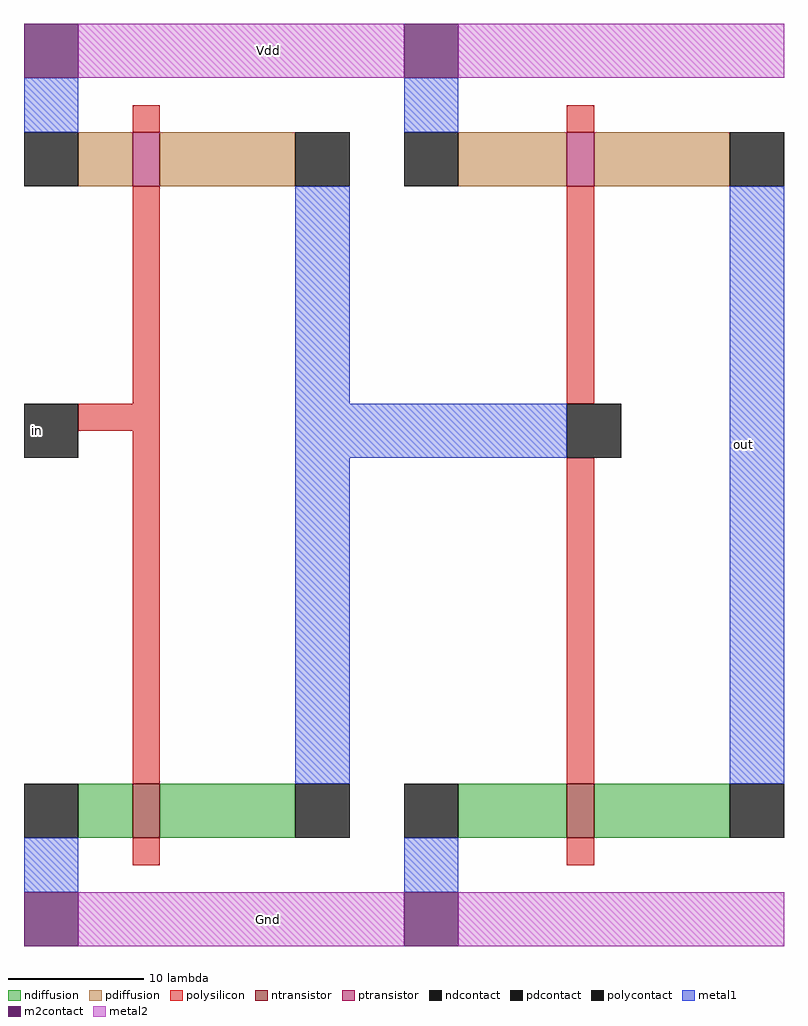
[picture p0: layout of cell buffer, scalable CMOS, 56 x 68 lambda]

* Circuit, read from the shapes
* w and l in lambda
.subckt buffer Gnd Vdd in out
M1 n1 in Gnd VSUBS nfet w=4 l=2
M2 out n1 Gnd VSUBS nfet w=4 l=2
M3 n1 in Vdd NWELL pfet w=4 l=2
M4 out n1 Vdd NWELL pfet w=4 l=2
.ends

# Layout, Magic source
magic
tech scmos
<< polysilicon >>
rect 8 60 10 62
rect 40 60 42 62
rect 8 40 10 56
rect 4 38 10 40
rect 8 12 10 38
rect 40 40 42 56
rect 40 12 42 36
rect 8 6 10 8
rect 40 6 42 8
<< ndiffusion >>
rect 4 8 8 12
rect 10 8 20 12
rect 32 8 40 12
rect 42 8 52 12
<< pdiffusion >>
rect 4 56 8 60
rect 10 56 20 60
rect 32 56 40 60
rect 42 56 52 60
<< metal1 >>
rect 0 60 4 64
rect 28 60 32 64
rect 20 40 24 56
rect 20 36 40 40
rect 20 12 24 36
rect 52 12 56 56
rect 0 4 4 8
rect 28 4 32 8
<< metal2 >>
rect 4 64 28 68
rect 32 64 56 68
rect 4 0 28 4
rect 32 0 56 4
<< ntransistor >>
rect 8 8 10 12
rect 40 8 42 12
<< ptransistor >>
rect 8 56 10 60
rect 40 56 42 60
<< polycontact >>
rect 0 36 4 40
rect 40 36 44 40
<< ndcontact >>
rect 0 8 4 12
rect 20 8 24 12
rect 28 8 32 12
rect 52 8 56 12
<< pdcontact >>
rect 0 56 4 60
rect 20 56 24 60
rect 28 56 32 60
rect 52 56 56 60
<< m2contact >>
rect 0 64 4 68
rect 28 64 32 68
rect 0 0 4 4
rect 28 0 32 4
<< labels >>
rlabel polycontact 1 38 1 38 3 in
rlabel metal1 53 37 53 37 7 out
rlabel metal2 18 66 18 66 5 Vdd
rlabel metal2 18 2 18 2 1 Gnd
<< end >>
